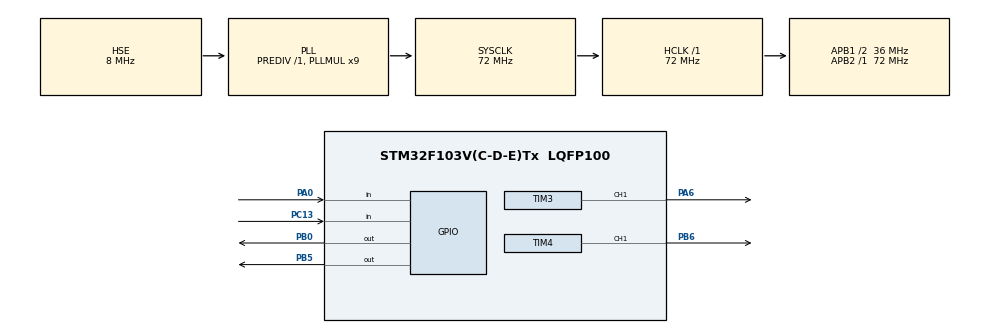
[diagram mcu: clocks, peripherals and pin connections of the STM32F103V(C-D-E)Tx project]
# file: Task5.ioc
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Mcu.Family=STM32F1
Mcu.Name=STM32F103V(C-D-E)Tx
Mcu.Package=LQFP100
NVIC.PriorityGroup=NVIC_PRIORITYGROUP_4
OSC_IN.Mode=HSE-External-Oscillator
OSC_IN.Signal=RCC_OSC_IN
OSC_OUT.Mode=HSE-External-Oscillator
OSC_OUT.Signal=RCC_OSC_OUT
PA0-WKUP.GPIO_PuPd=GPIO_PULLDOWN
PA0-WKUP.Signal=GPIO_Input
PA13.Mode=Serial_Wire
PA13.Signal=SYS_JTMS-SWDIO
PA14.Mode=Serial_Wire
PA14.Signal=SYS_JTCK-SWCLK
PA6.Signal=S_TIM3_CH1
PB0.GPIO_Speed=GPIO_SPEED_FREQ_HIGH
PB0.PinState=GPIO_PIN_SET
PB0.Signal=GPIO_Output
PB5.GPIO_Speed=GPIO_SPEED_FREQ_HIGH
PB5.PinState=GPIO_PIN_SET
PB5.Signal=GPIO_Output
PB6.Signal=S_TIM4_CH1
PC13-TAMPER-RTC.GPIO_PuPd=GPIO_PULLDOWN
PC13-TAMPER-RTC.Signal=GPIO_Input
PC14-OSC32_IN.Mode=LSE-External-Oscillator
PC14-OSC32_IN.Signal=RCC_OSC32_IN
PC15-OSC32_OUT.Mode=LSE-External-Oscillator
PC15-OSC32_OUT.Signal=RCC_OSC32_OUT
ProjectManager.HeapSize=0x200
ProjectManager.StackSize=0x400
ProjectManager.TargetToolchain=MDK-ARM V5
RCC.AHBFreq_Value=72000000
RCC.APB1CLKDivider=RCC_HCLK_DIV2
RCC.APB1Freq_Value=36000000
RCC.APB1TimFreq_Value=72000000
RCC.APB2Freq_Value=72000000
RCC.APB2TimFreq_Value=72000000
RCC.HCLKFreq_Value=72000000
RCC.PLLMUL=RCC_PLL_MUL9
RCC.PLLSourceVirtual=RCC_PLLSOURCE_HSE
RCC.SYSCLKFreq_VALUE=72000000
RCC.SYSCLKSource=RCC_SYSCLKSOURCE_PLLCLK
RCC.USBFreq_Value=72000000
SH.S_TIM3_CH1.0=TIM3_CH1,PWM Generation1 CH1
SH.S_TIM4_CH1.0=TIM4_CH1,PWM Generation1 CH1
TIM3.Channel-PWM\ Generation1\ CH1=TIM_CHANNEL_1
TIM3.Period=143
TIM3.Pulse-PWM\ Generation1\ CH1=72
TIM3.TIM_MasterOutputTrigger=TIM_TRGO_UPDATE
TIM3.TIM_MasterSlaveMode=TIM_MASTERSLAVEMODE_ENABLE
TIM4.Channel-PWM\ Generation1\ CH1=TIM_CHANNEL_1
TIM4.Period=9999
TIM4.Pulse-PWM\ Generation1\ CH1=750
VP_TIM3_VS_ClockSourceINT.Mode=Internal
VP_TIM4_VS_ClockSourceITR.Mode=TriggerSource_ITR2
VP_TIM4_VS_ControllerModeGated.Mode=Gated Mode
board=custom

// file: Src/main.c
/* USER CODE BEGIN Header */
/**
  ******************************************************************************
  * @file           : main.c
  * @brief          : Main program body
  ******************************************************************************
  * @attention
  *
  * <h2><center>&copy; Copyright (c) 2021 STMicroelectronics.
  * All rights reserved.</center></h2>
  *
  * This software component is licensed by ST under BSD 3-Clause license,
  * the "License"; You may not use this file except in compliance with the
  * License. You may obtain a copy of the License at:
  *                        opensource.org/licenses/BSD-3-Clause
  *
  ******************************************************************************
  */
/* USER CODE END Header */

#include "main.h"

TIM_HandleTypeDef htim3;
TIM_HandleTypeDef htim4;

/* USER CODE BEGIN PV */
void user_pwm_setvalue(uint16_t value);
/* USER CODE END PV */

void SystemClock_Config(void);
static void MX_GPIO_Init(void);
static void MX_TIM3_Init(void);
static void MX_TIM4_Init(void);

int main(void)
{

  /* MCU Configuration--------------------------------------------------------*/

  /* Reset of all peripherals, Initializes the Flash interface and the Systick. */
  HAL_Init();

  /* USER CODE BEGIN Init */
	int state = 0;

  /* USER CODE END Init */

  /* Configure the system clock */
  SystemClock_Config();

  /* Initialize all configured peripherals */
  MX_GPIO_Init();
  MX_TIM3_Init();
  MX_TIM4_Init();
  /* USER CODE BEGIN 2 */
	HAL_TIM_PWM_Start(&htim3, TIM_CHANNEL_1);
	HAL_TIM_PWM_Start(&htim4, TIM_CHANNEL_1);
	//user_pwm_setvalue(750);

  /* USER CODE END 2 */

  /* Infinite loop */
  while (1)
  {
    /* USER CODE BEGIN 3 */

		HAL_Delay(5);
		// Toggle K1
		if ((state !=3) && (HAL_GPIO_ReadPin(GPIOA, GPIO_PIN_0) == GPIO_PIN_SET) && (HAL_GPIO_ReadPin(GPIOC, GPIO_PIN_13) == GPIO_PIN_RESET)){
			// Set servo to middle
			state = 1;
		}else if((state !=3) && (HAL_GPIO_ReadPin(GPIOA, GPIO_PIN_0) == GPIO_PIN_RESET) && (HAL_GPIO_ReadPin(GPIOC, GPIO_PIN_13) == GPIO_PIN_SET)){
			state = 2;
		}

		if ((HAL_GPIO_ReadPin(GPIOA, GPIO_PIN_0) == GPIO_PIN_SET) && (HAL_GPIO_ReadPin(GPIOC, GPIO_PIN_13) == GPIO_PIN_SET)){
			// Set servo to middle
			state = 3;
		}

		if ((state==3) && (HAL_GPIO_ReadPin(GPIOA, GPIO_PIN_0) == GPIO_PIN_RESET) && (HAL_GPIO_ReadPin(GPIOC, GPIO_PIN_13) == GPIO_PIN_RESET)){
			// Set servo to middle
			state = 0;
		}

		switch(state%4){
			case(0):
				user_pwm_setvalue(750);
				HAL_GPIO_WritePin(GPIOB, GPIO_PIN_5, GPIO_PIN_SET); // R
				HAL_GPIO_WritePin(GPIOB, GPIO_PIN_0, GPIO_PIN_SET); // G
				break;
			case(1):
				user_pwm_setvalue(584);
				HAL_GPIO_WritePin(GPIOB, GPIO_PIN_5, GPIO_PIN_RESET); // R
				HAL_GPIO_WritePin(GPIOB, GPIO_PIN_0, GPIO_PIN_SET); // G
				break;
			case(2):
				user_pwm_setvalue(916);
				HAL_GPIO_WritePin(GPIOB, GPIO_PIN_5, GPIO_PIN_SET); // R
				HAL_GPIO_WritePin(GPIOB, GPIO_PIN_0, GPIO_PIN_RESET); // G
				break;
			default:
				user_pwm_setvalue(750);
				HAL_GPIO_WritePin(GPIOB, GPIO_PIN_5, GPIO_PIN_SET); // R
				HAL_GPIO_WritePin(GPIOB, GPIO_PIN_0, GPIO_PIN_SET); // G
		}

  }
  /* USER CODE END 3 */
}

void SystemClock_Config(void)
{
  RCC_OscInitTypeDef RCC_OscInitStruct = {0};
  RCC_ClkInitTypeDef RCC_ClkInitStruct = {0};

  /** Initializes the CPU, AHB and APB busses clocks
  */
  RCC_OscInitStruct.OscillatorType = RCC_OSCILLATORTYPE_HSE;
  RCC_OscInitStruct.HSEState = RCC_HSE_ON;
  RCC_OscInitStruct.HSEPredivValue = RCC_HSE_PREDIV_DIV1;
  RCC_OscInitStruct.HSIState = RCC_HSI_ON;
  RCC_OscInitStruct.PLL.PLLState = RCC_PLL_ON;
  RCC_OscInitStruct.PLL.PLLSource = RCC_PLLSOURCE_HSE;
  RCC_OscInitStruct.PLL.PLLMUL = RCC_PLL_MUL9;
  if (HAL_RCC_OscConfig(&RCC_OscInitStruct) != HAL_OK)
  {
    Error_Handler();
  }
  /** Initializes the CPU, AHB and APB busses clocks
  */
  RCC_ClkInitStruct.ClockType = RCC_CLOCKTYPE_HCLK|RCC_CLOCKTYPE_SYSCLK
                              |RCC_CLOCKTYPE_PCLK1|RCC_CLOCKTYPE_PCLK2;
  RCC_ClkInitStruct.SYSCLKSource = RCC_SYSCLKSOURCE_PLLCLK;
  RCC_ClkInitStruct.AHBCLKDivider = RCC_SYSCLK_DIV1;
  RCC_ClkInitStruct.APB1CLKDivider = RCC_HCLK_DIV2;
  RCC_ClkInitStruct.APB2CLKDivider = RCC_HCLK_DIV1;

  if (HAL_RCC_ClockConfig(&RCC_ClkInitStruct, FLASH_LATENCY_2) != HAL_OK)
  {
    Error_Handler();
  }
}

static void MX_TIM3_Init(void)
{

  TIM_ClockConfigTypeDef sClockSourceConfig = {0};
  TIM_MasterConfigTypeDef sMasterConfig = {0};
  TIM_OC_InitTypeDef sConfigOC = {0};

  htim3.Instance = TIM3;
  htim3.Init.Prescaler = 0;
  htim3.Init.CounterMode = TIM_COUNTERMODE_UP;
  htim3.Init.Period = 143;
  htim3.Init.ClockDivision = TIM_CLOCKDIVISION_DIV1;
  htim3.Init.AutoReloadPreload = TIM_AUTORELOAD_PRELOAD_DISABLE;
  if (HAL_TIM_Base_Init(&htim3) != HAL_OK)
  {
    Error_Handler();
  }
  sClockSourceConfig.ClockSource = TIM_CLOCKSOURCE_INTERNAL;
  if (HAL_TIM_ConfigClockSource(&htim3, &sClockSourceConfig) != HAL_OK)
  {
    Error_Handler();
  }
  if (HAL_TIM_PWM_Init(&htim3) != HAL_OK)
  {
    Error_Handler();
  }
  sMasterConfig.MasterOutputTrigger = TIM_TRGO_UPDATE;
  sMasterConfig.MasterSlaveMode = TIM_MASTERSLAVEMODE_ENABLE;
  if (HAL_TIMEx_MasterConfigSynchronization(&htim3, &sMasterConfig) != HAL_OK)
  {
    Error_Handler();
  }
  sConfigOC.OCMode = TIM_OCMODE_PWM1;
  sConfigOC.Pulse = 72;
  sConfigOC.OCPolarity = TIM_OCPOLARITY_HIGH;
  sConfigOC.OCFastMode = TIM_OCFAST_DISABLE;
  if (HAL_TIM_PWM_ConfigChannel(&htim3, &sConfigOC, TIM_CHANNEL_1) != HAL_OK)
  {
    Error_Handler();
  }
  HAL_TIM_MspPostInit(&htim3);

}

static void MX_TIM4_Init(void)
{

  TIM_SlaveConfigTypeDef sSlaveConfig = {0};
  TIM_MasterConfigTypeDef sMasterConfig = {0};
  TIM_OC_InitTypeDef sConfigOC = {0};

  htim4.Instance = TIM4;
  htim4.Init.Prescaler = 0;
  htim4.Init.CounterMode = TIM_COUNTERMODE_UP;
  htim4.Init.Period = 9999;
  htim4.Init.ClockDivision = TIM_CLOCKDIVISION_DIV1;
  htim4.Init.AutoReloadPreload = TIM_AUTORELOAD_PRELOAD_DISABLE;
  if (HAL_TIM_Base_Init(&htim4) != HAL_OK)
  {
    Error_Handler();
  }
  if (HAL_TIM_PWM_Init(&htim4) != HAL_OK)
  {
    Error_Handler();
  }
  sSlaveConfig.SlaveMode = TIM_SLAVEMODE_GATED;
  sSlaveConfig.InputTrigger = TIM_TS_ITR2;
  if (HAL_TIM_SlaveConfigSynchronization(&htim4, &sSlaveConfig) != HAL_OK)
  {
    Error_Handler();
  }
  sMasterConfig.MasterOutputTrigger = TIM_TRGO_RESET;
  sMasterConfig.MasterSlaveMode = TIM_MASTERSLAVEMODE_DISABLE;
  if (HAL_TIMEx_MasterConfigSynchronization(&htim4, &sMasterConfig) != HAL_OK)
  {
    Error_Handler();
  }
  sConfigOC.OCMode = TIM_OCMODE_PWM1;
  sConfigOC.Pulse = 750;
  sConfigOC.OCPolarity = TIM_OCPOLARITY_HIGH;
  sConfigOC.OCFastMode = TIM_OCFAST_DISABLE;
  if (HAL_TIM_PWM_ConfigChannel(&htim4, &sConfigOC, TIM_CHANNEL_1) != HAL_OK)
  {
    Error_Handler();
  }
  HAL_TIM_MspPostInit(&htim4);

}

static void MX_GPIO_Init(void)
{
  GPIO_InitTypeDef GPIO_InitStruct = {0};

  /* GPIO Ports Clock Enable */
  __HAL_RCC_GPIOC_CLK_ENABLE();
  __HAL_RCC_GPIOA_CLK_ENABLE();
  __HAL_RCC_GPIOB_CLK_ENABLE();

  /*Configure GPIO pin Output Level */
  HAL_GPIO_WritePin(GPIOB, GPIO_PIN_0|GPIO_PIN_5, GPIO_PIN_SET);

  /*Configure GPIO pin : PC13 */
  GPIO_InitStruct.Pin = GPIO_PIN_13;
  GPIO_InitStruct.Mode = GPIO_MODE_INPUT;
  GPIO_InitStruct.Pull = GPIO_PULLDOWN;
  HAL_GPIO_Init(GPIOC, &GPIO_InitStruct);

  /*Configure GPIO pin : PA0 */
  GPIO_InitStruct.Pin = GPIO_PIN_0;
  GPIO_InitStruct.Mode = GPIO_MODE_INPUT;
  GPIO_InitStruct.Pull = GPIO_PULLDOWN;
  HAL_GPIO_Init(GPIOA, &GPIO_InitStruct);

  /*Configure GPIO pins : PB0 PB5 */
  GPIO_InitStruct.Pin = GPIO_PIN_0|GPIO_PIN_5;
  GPIO_InitStruct.Mode = GPIO_MODE_OUTPUT_PP;
  GPIO_InitStruct.Pull = GPIO_NOPULL;
  GPIO_InitStruct.Speed = GPIO_SPEED_FREQ_HIGH;
  HAL_GPIO_Init(GPIOB, &GPIO_InitStruct);

}

/* USER CODE BEGIN 4 */

void user_pwm_setvalue(uint16_t value)
{
    TIM_OC_InitTypeDef sConfigOC;

    sConfigOC.OCMode = TIM_OCMODE_PWM1;
    sConfigOC.Pulse = value;
    sConfigOC.OCPolarity = TIM_OCPOLARITY_HIGH;
    sConfigOC.OCFastMode = TIM_OCFAST_DISABLE;
    HAL_TIM_PWM_ConfigChannel(&htim4, &sConfigOC, TIM_CHANNEL_1);
    HAL_TIM_PWM_Start(&htim4, TIM_CHANNEL_1);
}

/* USER CODE END 4 */

void Error_Handler(void)
{
}

/************************ (C) COPYRIGHT STMicroelectronics *****END OF FILE****/
